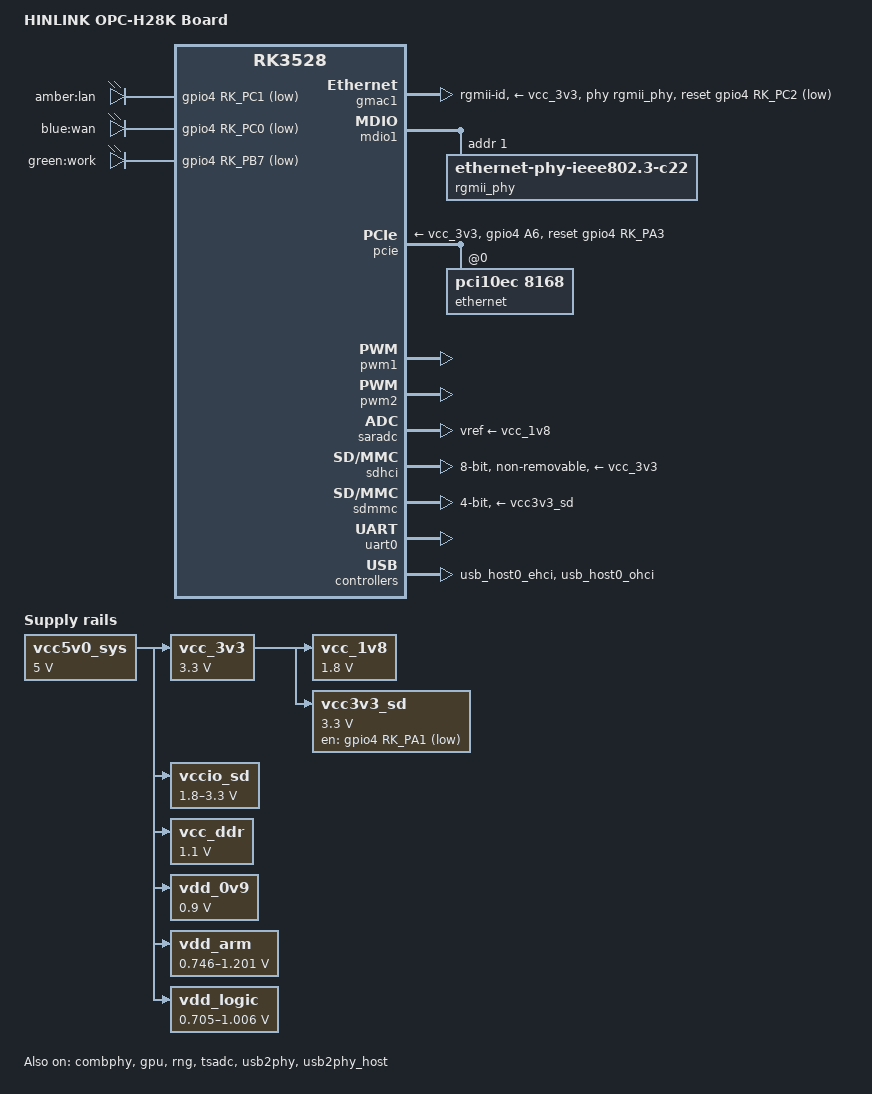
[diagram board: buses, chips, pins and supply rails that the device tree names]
// SPDX-License-Identifier: (GPL-2.0+ OR MIT)

/dts-v1/;
#include <dt-bindings/gpio/gpio.h>
#include <dt-bindings/pinctrl/rockchip.h>

#include "rk3528.dtsi"

/ {
	model = "HINLINK OPC-H28K Board";
	compatible = "hinlink,opc-h28k", "rockchip,rk3528";

	aliases {
		mmc0 = &sdhci;
		mmc1 = &sdmmc;
		serial0 = &uart0;
		ethernet0 = &gmac1;

		led-boot = &led_work;
		led-failsafe = &led_work;
		led-running = &led_work;
		led-upgrade = &led_work;
	};

	chosen {
		stdout-path = "serial0:1500000n8";
	};

	leds {
		compatible = "gpio-leds";
		pinctrl-names = "default";
		pinctrl-0 = <&lan_led_en>, <&wan_led_en>, <&work_led_en>;

		lan {
			label = "amber:lan";
			gpios = <&gpio4 RK_PC1 GPIO_ACTIVE_LOW>;
		};

		wan {
			label = "blue:wan";
			gpios = <&gpio4 RK_PC0 GPIO_ACTIVE_LOW>;
		};

		led_work: work {
			label = "green:work";
			gpios = <&gpio4 RK_PB7 GPIO_ACTIVE_LOW>;
		};
	};

	vcc5v0_sys: vcc5v0-sys {
		compatible = "regulator-fixed";
		regulator-name = "vcc5v0_sys";
		regulator-always-on;
		regulator-boot-on;
		regulator-min-microvolt = <5000000>;
		regulator-max-microvolt = <5000000>;
	};

	vcc_3v3: vcc-3v3 {
		compatible = "regulator-fixed";
		regulator-name = "vcc_3v3";
		regulator-always-on;
		regulator-boot-on;
		regulator-min-microvolt = <3300000>;
		regulator-max-microvolt = <3300000>;
		vin-supply = <&vcc5v0_sys>;
	};

	vcc_1v8: vcc-1v8 {
		compatible = "regulator-fixed";
		regulator-name = "vcc_1v8";
		regulator-always-on;
		regulator-boot-on;
		regulator-min-microvolt = <1800000>;
		regulator-max-microvolt = <1800000>;
		vin-supply = <&vcc_3v3>;
	};

	vcc3v3_sd: vcc3v3-sd {
		compatible = "regulator-fixed";
		gpios = <&gpio4 RK_PA1 GPIO_ACTIVE_LOW>;
		pinctrl-names = "default";
		pinctrl-0 = <&sdmmc_pwren_l>;
		regulator-name = "vcc3v3_sd";
		regulator-min-microvolt = <3300000>;
		regulator-max-microvolt = <3300000>;
		vin-supply = <&vcc_3v3>;
	};

	vccio_sd: vccio-sd {
		compatible = "regulator-gpio";
		gpios = <&gpio4 RK_PB6 GPIO_ACTIVE_HIGH>;
		pinctrl-names = "default";
		pinctrl-0 = <&sdmmc_vol_ctrl_h>;
		regulator-name = "vccio_sd";
		regulator-min-microvolt = <1800000>;
		regulator-max-microvolt = <3300000>;
		states = <1800000 0x0>, <3300000 0x1>;
		vin-supply = <&vcc5v0_sys>;
	};

	vcc_ddr: vcc-ddr {
		compatible = "regulator-fixed";
		regulator-name = "vcc_ddr";
		regulator-always-on;
		regulator-boot-on;
		regulator-min-microvolt = <1100000>;
		regulator-max-microvolt = <1100000>;
		vin-supply = <&vcc5v0_sys>;
	};

	vdd_0v9: vdd-0v9 {
		compatible = "regulator-fixed";
		regulator-name = "vdd_0v9";
		regulator-always-on;
		regulator-boot-on;
		regulator-min-microvolt = <900000>;
		regulator-max-microvolt = <900000>;
		vin-supply = <&vcc5v0_sys>;
	};

	vdd_arm: vdd-arm {
		compatible = "pwm-regulator";
		pwms = <&pwm1 0 5000 1>;
		pwm-supply = <&vcc5v0_sys>;
		regulator-name = "vdd_arm";
		regulator-always-on;
		regulator-boot-on;
		regulator-min-microvolt = <746000>;
		regulator-max-microvolt = <1201000>;
		regulator-settling-time-up-us = <250>;
	};

	vdd_logic: vdd-logic {
		compatible = "pwm-regulator";
		pwms = <&pwm2 0 5000 1>;
		pwm-supply = <&vcc5v0_sys>;
		regulator-name = "vdd_logic";
		regulator-always-on;
		regulator-boot-on;
		regulator-min-microvolt = <705000>;
		regulator-max-microvolt = <1006000>;
		regulator-settling-time-up-us = <250>;
	};
};

&combphy {
	status = "okay";
};

&cpu0 {
	cpu-supply = <&vdd_arm>;
};

&cpu1 {
	cpu-supply = <&vdd_arm>;
};

&cpu2 {
	cpu-supply = <&vdd_arm>;
};

&cpu3 {
	cpu-supply = <&vdd_arm>;
};

&gmac1 {
	clock_in_out = "output";
	phy-handle = <&rgmii_phy>;
	phy-mode = "rgmii-id";
	phy-supply = <&vcc_3v3>;
	pinctrl-names = "default";
	pinctrl-0 = <&rgmii_miim>,
		    <&rgmii_tx_bus2>,
		    <&rgmii_rx_bus2>,
		    <&rgmii_rgmii_clk>,
		    <&rgmii_rgmii_bus>;
	snps,reset-active-low;
	snps,reset-delays-us = <0 20000 100000>;
	snps,reset-gpio = <&gpio4 RK_PC2 GPIO_ACTIVE_LOW>;
	status = "okay";
};

&gpu {
	mali-supply = <&vdd_logic>;
	status = "okay";
};

&mdio1 {
	rgmii_phy: phy@1 {
		compatible = "ethernet-phy-ieee802.3-c22";
		reg = <0x1>;
		realtek,led-data = <0x6d60>;
	};
};

&pcie {
	pinctrl-names = "default";
	pinctrl-0 = <&rtl8111_isolate>;
	reset-gpios = <&gpio4 RK_PA3 GPIO_ACTIVE_HIGH>;
	vpcie3v3-supply = <&vcc_3v3>;
	status = "okay";

	bridge@0,0 {
		reg = <0x00000000 0 0 0 0>;
		#address-cells = <3>;
		#size-cells = <2>;
		ranges;

		ethernet@0,0 {
			compatible = "pci10ec,8168";
			reg = <0x000000 0 0 0 0>;
			realtek,led-data = <0xf70>;
		};
	};
};

&pinctrl {
	leds {
		lan_led_en: lan-led-en {
			rockchip,pins = <4 RK_PC1 RK_FUNC_GPIO &pcfg_pull_none>;
		};

		wan_led_en: wan-led-en {
			rockchip,pins = <4 RK_PC0 RK_FUNC_GPIO &pcfg_pull_none>;
		};

		work_led_en: led-work-en {
			rockchip,pins = <4 RK_PB7 RK_FUNC_GPIO &pcfg_pull_none>;
		};
	};

	pcie {
		rtl8111_isolate: rtl8111-isolate {
			rockchip,pins = <4 RK_PA6 RK_FUNC_GPIO &pcfg_pull_up>;
		};
	};

	sdmmc {
		sdmmc_pwren_l: sdmmc-pwren-l {
			rockchip,pins = <4 RK_PA1 RK_FUNC_GPIO &pcfg_pull_none>;
		};

		sdmmc_vol_ctrl_h: sdmmc-vol-ctrl-h {
			rockchip,pins = <4 RK_PB6 RK_FUNC_GPIO &pcfg_pull_none>;
		};
	};
};

&pwm1 {
	pinctrl-names = "default";
	pinctrl-0 = <&pwm1m0_pins>;
	status = "okay";
};

&pwm2 {
	pinctrl-names = "default";
	pinctrl-0 = <&pwm2m0_pins>;
	status = "okay";
};

&rng {
	status = "okay";
};

&saradc {
	vref-supply = <&vcc_1v8>;
	status = "okay";
};

&sdhci {
	bus-width = <8>;
	cap-mmc-highspeed;
	mmc-hs200-1_8v;
	non-removable;
	vmmc-supply = <&vcc_3v3>;
	vqmmc-supply = <&vcc_1v8>;
	status = "okay";
};

&sdmmc {
	bus-width = <4>;
	cap-sd-highspeed;
	disable-wp;
	sd-uhs-sdr104;
	vmmc-supply = <&vcc3v3_sd>;
	vqmmc-supply = <&vccio_sd>;
	status = "okay";
};

&tsadc {
	status = "okay";
};

&uart0 {
	pinctrl-names = "default";
	pinctrl-0 = <&uart0m0_xfer>;
	status = "okay";
};

&usb2phy {
	status = "okay";
};

&usb2phy_host {
	phy-supply = <&vcc5v0_sys>;
	status = "okay";
};

&usb_host0_ehci {
	status = "okay";
};

&usb_host0_ohci {
	status = "okay";
};
